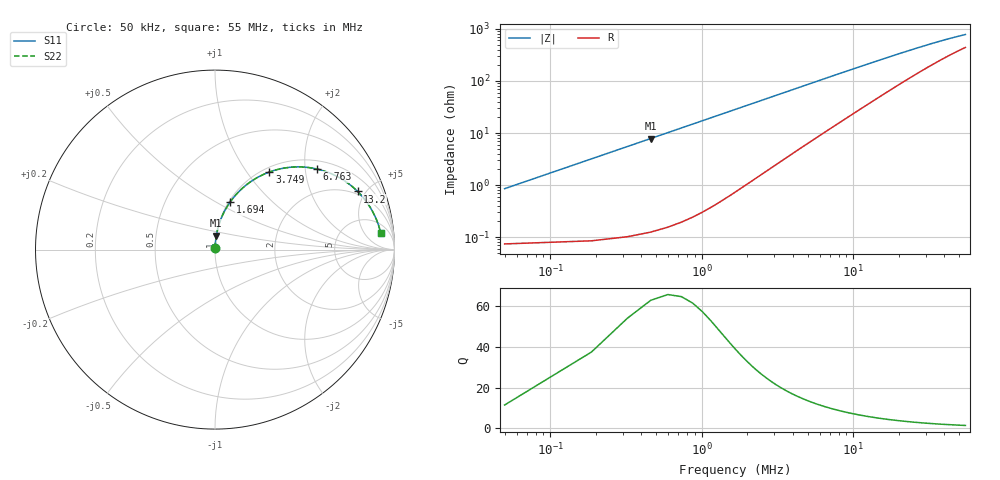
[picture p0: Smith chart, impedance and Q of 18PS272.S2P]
! Coilcraft 1812PS-272 Power Chip Inductor
! 1 October 2002
# MHZ S MA R 50
!Freq  MagS11  AngS11  MagS21  AngS21  MagS12  AngS12  MagS22  AngS22
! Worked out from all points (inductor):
!   403 points, 50 kHz to 55 MHz, reference 50 ohm
!   read as one part in series: L = 2.7 uH near 324 kHz
!   highest Q = 57.3 at 461 kHz (marker M1), where L = 2.7 uH
!   S11 on the Smith chart (normalised r, x): 50 kHz: 1.00, +0.02; 1.694 MHz: 1.02, +0.58; 3.749 MHz: 1.07, +1.28; 6.763 MHz: 1.22, +2.31; 13.2 MHz: 1.79, +4.40; 55 MHz: 10, +13
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0.05  0.008508 84.5  0.9992 -0.5  0.9992 -0.5  0.008508 84.5
0.187  0.0317 86.7  0.9987 -1.8  0.9987 -1.8  0.0317 86.7
0.324  0.05488 85.8  0.9975 -3.1  0.9975 -3.1  0.05488 85.8
0.461  0.078 84.6  0.9957 -4.5  0.9957 -4.5  0.078 84.6
0.598  0.101 83.3  0.9933 -5.8  0.9933 -5.8  0.101 83.3
0.735  0.1239 82.0  0.9904 -7.1  0.9904 -7.1  0.1239 82.0
0.872  0.1466 80.6  0.9868 -8.4  0.9868 -8.4  0.1466 80.6
1.283  0.2132 76.5  0.9726 -12.3  0.9726 -12.3  0.2132 76.5
1.694  0.2765 72.5  0.9538 -16.0  0.9538 -16.0  0.2765 72.5
2.105  0.3359 68.5  0.9312 -19.6  0.9312 -19.6  0.3359 68.5
2.653  0.408 63.6  0.8967 -24.1  0.8967 -24.1  0.408 63.6
3.749  0.5278 55.0  0.8204 -31.8  0.8204 -31.8  0.5278 55.0
5.119  0.6366 46.3  0.725 -39.4  0.725 -39.4  0.6366 46.3
6.763  0.7231 38.4  0.6244 -46.0  0.6244 -46.0  0.7231 38.4
9.229  0.7992 30.2  0.5073 -52.4  0.5073 -52.4  0.7992 30.2
11.01  0.8318 26.0  0.444 -55.3  0.444 -55.3  0.8318 26.0
13.202  0.8581 22.2  0.3837 -57.6  0.3837 -57.6  0.8581 22.2
18.408  0.891 16.3  0.2895 -60.0  0.2895 -60.0  0.891 16.3
27.587  0.913 11.1  0.204 -59.3  0.204 -59.3  0.913 11.1
36.766  0.9215 8.4  0.1606 -56.7  0.1606 -56.7  0.9215 8.4
45.945  0.9258 6.7  0.135 -53.4  0.135 -53.4  0.9258 6.7
55  0.9283 5.6  0.1187 -50.1  0.1187 -50.1  0.9283 5.6
